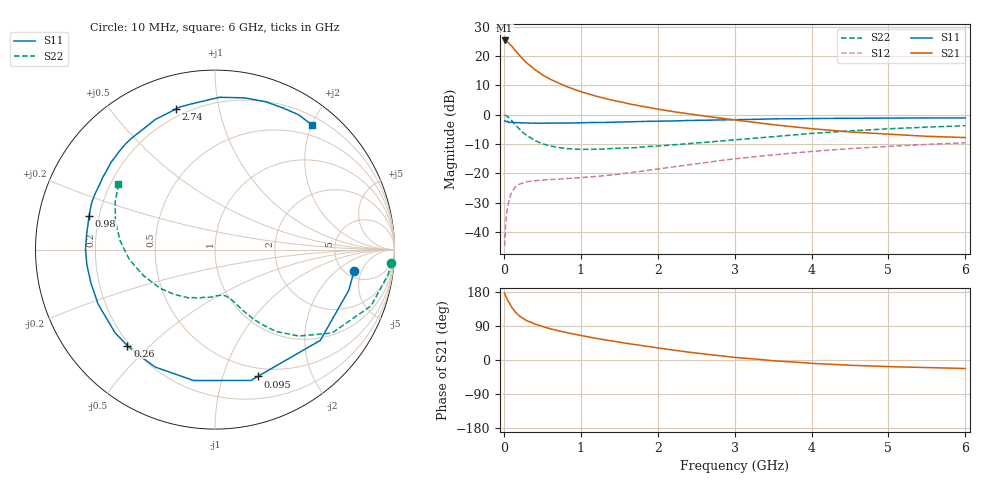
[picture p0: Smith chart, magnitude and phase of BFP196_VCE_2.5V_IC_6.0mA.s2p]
! Infineon Technologies  Discrete & RF Semiconductors
! BFP196
! VCE = 2.5 V,  IC = 6.0mA
! Common Emitter S-Parameters:  Jan 2016
# GHz  S  MA  R  50
!  f  S11  S21  S12  S22
! GHz  MAG  ANG  MAG  ANG  MAG  ANG  MAG  ANG
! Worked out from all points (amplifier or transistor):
!   210 points, 10 MHz to 6 GHz, reference 50 ohm
!   highest |S21| = 25.3 dB at 10 MHz (marker M1)
!   |S21| within 3 dB of that: start of sweep to 134.6 MHz
!   unconditionally stable (mu >= 1): 1.05 GHz to 3.392 GHz; 5.888 GHz to end of sweep
!   at 185 MHz: K = 0.22, MSG = 22.4 dB, |S12| = -24.0 dB
!   at 1.52 GHz: K = 1.18, MAG = 9.7 dB, |S12| = -20.2 dB
!   at 6 GHz: K = 1.00, MAG = 0.6 dB, |S12| = -9.6 dB
!   S11 on the Smith chart (normalised r, x): 10 MHz: 5.96, -3.67; 95 MHz: 0.41, -1.31; 260 MHz: 0.19, -0.43; 980 MHz: 0.16, +0.13; 2.74 GHz: 0.16, +0.75; 6 GHz: 0.32, +1.99
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0.01  0.7841 -8.7  18.5 176.4  0.0057 86.9  0.9846 -4.3
0.02  0.779 -16.9  18.12 170.6  0.0116 79.2  0.9746 -8.2
0.05  0.7746 -40.8  17.35 157.9  0.0273 69.5  0.9245 -19.8
0.095  0.7457 -71.4  15.11 141.8  0.0449 55.7  0.8098 -33.7
0.1  0.7557 -74.7  14.95 139.8  0.047 54.8  0.8005 -35.5
0.15  0.7391 -99.3  12.39 125.9  0.0586 44.2  0.671 -45.9
0.2  0.7345 -117.0  10.44 116.4  0.065 37.2  0.5702 -53.2
0.26  0.7242 -132.4  8.52 108.0  0.0693 32.0  0.4824 -58.5
0.3  0.7245 -140.2  7.581 103.5  0.072 29.9  0.4409 -61.2
0.4  0.7186 -155.0  5.929 95.1  0.0744 26.4  0.3636 -66.0
0.5  0.716 -164.8  4.799 88.4  0.0767 24.9  0.3187 -69.2
0.6  0.7189 -173.2  4.045 82.5  0.0782 24.4  0.2931 -71.8
0.7  0.7216 179.8  3.503 77.4  0.0792 24.6  0.2766 -74.3
0.98  0.7261 164.9  2.527 65.6  0.0838 27.6  0.2566 -81.8
1.02  0.7288 163.0  2.431 64.0  0.0845 28.1  0.2562 -82.9
1.4  0.7439 147.3  1.774 50.4  0.0933 33.0  0.2648 -93.8
2.02  0.7753 126.4  1.234 31.2  0.1194 39.0  0.2924 -113.8
2.74  0.8132 105.5  0.898 12.8  0.1603 38.9  0.3481 -136.9
3.1  0.8255 96.8  0.783 5.4  0.1823 36.3  0.3817 -148.1
4.1  0.8619 77.4  0.563 -9.7  0.241 26.5  0.4883 -175.8
5.1  0.8765 63.0  0.456 -18.0  0.2926 14.3  0.582 162.5
6  0.8799 52.3  0.407 -22.4  0.3321 3.0  0.649 146.0
